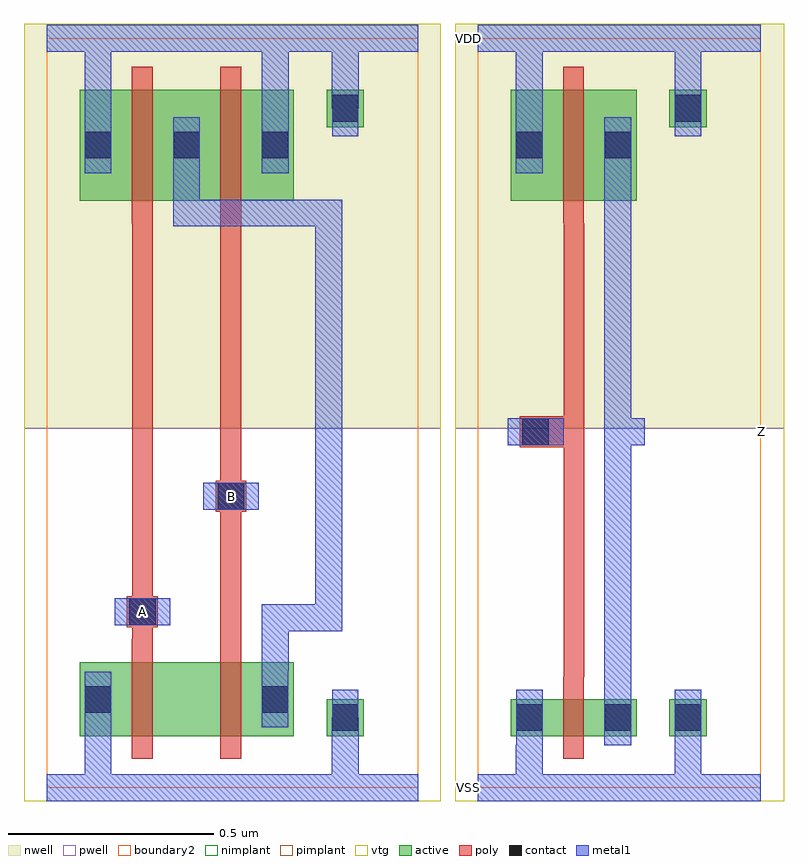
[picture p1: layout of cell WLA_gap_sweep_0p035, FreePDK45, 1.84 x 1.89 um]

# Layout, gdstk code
import gdstk
lib = gdstk.Library(unit=1e-6, precision=1e-09)
def R(c, l, rs):  # rectangles x0, y0, x1, y1
    for r in rs: c.add(gdstk.rectangle(r[:2], r[2:], *l))
active = (1, 0)
pwell = (2, 0)
nwell = (3, 0)
nimplant = (4, 0)
pimplant = (5, 0)
vtg = (6, 0)
poly = (9, 0)
contact = (10, 0)
metal1 = (11, 0)
boundary2 = (239, 0)

teamb_clone__pnand2_stag = lib.new_cell('TEAMB_CLONE__pnand2_stage__PNAND2_NW180_PW270_L50_FPDK45__PNAND2_NW180_PW270_L50_FPDK45_contact_8')
R(teamb_clone__pnand2_stag, active, [(0,0.022,0.09,0.112)])
R(teamb_clone__pnand2_stag, nwell, [(-0.055,-0.033,0.145,0.168)])
R(teamb_clone__pnand2_stag, pimplant, [(0,0.022,0.09,0.112)])
R(teamb_clone__pnand2_stag, contact, [(0.013,0.035,0.077,0.1)])
R(teamb_clone__pnand2_stag, metal1, [(0.013,0,0.077,0.135)])
R(teamb_clone__pnand2_stag, boundary2, [(-0.055,-0.033,0.145,0.168)])

c_teamb_clone__pnand2_stag = lib.new_cell('TEAMB_CLONE__pnand2_stage__PNAND2_NW180_PW270_L50_FPDK45__PNAND2_NW180_PW270_L50_FPDK45_pmos_m1_w0_270_sm1_dm1')
R(c_teamb_clone__pnand2_stag, active, [(0,0,0.305,0.27)])
R(c_teamb_clone__pnand2_stag, nwell, [(-0.08,-0.08,0.385,0.35)])
R(c_teamb_clone__pnand2_stag, pimplant, [(0,0,0.305,0.27)])
R(c_teamb_clone__pnand2_stag, vtg, [(-0.08,-0.08,0.385,0.35)])
R(c_teamb_clone__pnand2_stag, poly, [(0.127,-0.055,0.177,0.325), (0.127,-0.055,0.177,0.325)])
R(c_teamb_clone__pnand2_stag, metal1, [(0.013,0.068,0.077,0.203), (0.227,0.068,0.292,0.203)])
R(c_teamb_clone__pnand2_stag, boundary2, [(-0.08,-0.08,0.385,0.35)])
c_teamb_clone__pnand2_stag.add(gdstk.Reference(teamb_clone__pnand2_stag, (0,0.068)))
c_teamb_clone__pnand2_stag.add(gdstk.Reference(teamb_clone__pnand2_stag, (0.215,0.068)))

c_teamb_clone__pnand2_stag_ = lib.new_cell('TEAMB_CLONE__pnand2_stage__PNAND2_NW180_PW270_L50_FPDK45__PNAND2_NW180_PW270_L50_FPDK45_contact_7')
R(c_teamb_clone__pnand2_stag_, active, [(0,0.022,0.09,0.112)])
R(c_teamb_clone__pnand2_stag_, pwell, [(-0.055,-0.033,0.145,0.168)])
R(c_teamb_clone__pnand2_stag_, nimplant, [(0,0.022,0.09,0.112)])
R(c_teamb_clone__pnand2_stag_, contact, [(0.013,0.035,0.077,0.1)])
R(c_teamb_clone__pnand2_stag_, metal1, [(0.013,0,0.077,0.135)])
R(c_teamb_clone__pnand2_stag_, boundary2, [(-0.055,-0.033,0.145,0.168)])

c_teamb_clone__pnand2_stag__ = lib.new_cell('TEAMB_CLONE__pnand2_stage__PNAND2_NW180_PW270_L50_FPDK45__PNAND2_NW180_PW270_L50_FPDK45_nmos_m1_w0_180_sm1_dactive')
R(c_teamb_clone__pnand2_stag__, active, [(0,0,0.305,0.18), (0.215,0.045,0.305,0.135)])
R(c_teamb_clone__pnand2_stag__, pwell, [(-0.08,-0.08,0.385,0.26)])
R(c_teamb_clone__pnand2_stag__, nimplant, [(0,0,0.305,0.18)])
R(c_teamb_clone__pnand2_stag__, vtg, [(-0.08,-0.08,0.385,0.26)])
R(c_teamb_clone__pnand2_stag__, poly, [(0.127,-0.055,0.177,0.235), (0.127,-0.055,0.177,0.235)])
R(c_teamb_clone__pnand2_stag__, metal1, [(0.013,0.022,0.077,0.157)])
R(c_teamb_clone__pnand2_stag__, boundary2, [(-0.08,-0.08,0.385,0.26)])
c_teamb_clone__pnand2_stag__.add(gdstk.Reference(c_teamb_clone__pnand2_stag_, (0,0.022)))

c_teamb_clone__pnand2_stag___ = lib.new_cell('TEAMB_CLONE__pnand2_stage__PNAND2_NW180_PW270_L50_FPDK45__PNAND2_NW180_PW270_L50_FPDK45_nmos_m1_w0_180_sactive_dm1')
R(c_teamb_clone__pnand2_stag___, active, [(0,0,0.305,0.18), (0,0.045,0.09,0.135)])
R(c_teamb_clone__pnand2_stag___, pwell, [(-0.08,-0.08,0.385,0.26)])
R(c_teamb_clone__pnand2_stag___, nimplant, [(0,0,0.305,0.18)])
R(c_teamb_clone__pnand2_stag___, vtg, [(-0.08,-0.08,0.385,0.26)])
R(c_teamb_clone__pnand2_stag___, poly, [(0.127,-0.055,0.177,0.235), (0.127,-0.055,0.177,0.235)])
R(c_teamb_clone__pnand2_stag___, metal1, [(0.227,0.022,0.292,0.157)])
R(c_teamb_clone__pnand2_stag___, boundary2, [(-0.08,-0.08,0.385,0.26)])
c_teamb_clone__pnand2_stag___.add(gdstk.Reference(c_teamb_clone__pnand2_stag_, (0.215,0.022)))

c_teamb_clone__pnand2_stag____ = lib.new_cell('TEAMB_CLONE__pnand2_stage__PNAND2_NW180_PW270_L50_FPDK45__PNAND2_NW180_PW270_L50_FPDK45_contact_9')
R(c_teamb_clone__pnand2_stag____, active, [(0,0.022,0.09,0.112)])
R(c_teamb_clone__pnand2_stag____, nwell, [(-0.055,-0.033,0.145,0.168)])
R(c_teamb_clone__pnand2_stag____, nimplant, [(0,0.022,0.09,0.112)])
R(c_teamb_clone__pnand2_stag____, contact, [(0.013,0.035,0.077,0.1)])
R(c_teamb_clone__pnand2_stag____, metal1, [(0.013,0,0.077,0.135)])
R(c_teamb_clone__pnand2_stag____, boundary2, [(-0.055,-0.033,0.145,0.168)])

c_teamb_clone__pnand2_stag_____ = lib.new_cell('TEAMB_CLONE__pnand2_stage__PNAND2_NW180_PW270_L50_FPDK45__PNAND2_NW180_PW270_L50_FPDK45_contact_10')
R(c_teamb_clone__pnand2_stag_____, active, [(0,0.022,0.09,0.112)])
R(c_teamb_clone__pnand2_stag_____, pwell, [(-0.055,-0.033,0.145,0.168)])
R(c_teamb_clone__pnand2_stag_____, pimplant, [(0,0.022,0.09,0.112)])
R(c_teamb_clone__pnand2_stag_____, contact, [(0.013,0.035,0.077,0.1)])
R(c_teamb_clone__pnand2_stag_____, metal1, [(0.013,0,0.077,0.135)])
R(c_teamb_clone__pnand2_stag_____, boundary2, [(-0.055,-0.033,0.145,0.168)])

c_teamb_clone__pnand2_stag______ = lib.new_cell('TEAMB_CLONE__pnand2_stage__PNAND2_NW180_PW270_L50_FPDK45__PNAND2_NW180_PW270_L50_FPDK45_contact_11')
R(c_teamb_clone__pnand2_stag______, poly, [(0.03,0,0.105,0.075)])
R(c_teamb_clone__pnand2_stag______, contact, [(0.035,0.005,0.1,0.07)])
R(c_teamb_clone__pnand2_stag______, metal1, [(0,0.005,0.135,0.07)])
R(c_teamb_clone__pnand2_stag______, boundary2, [(0,0,0.135,0.075)])

c_teamb_clone__pnand2_stag_______ = lib.new_cell('TEAMB_CLONE__pnand2_stage__PNAND2_NW180_PW270_L50_FPDK45__PNAND2_NW180_PW270_L50_FPDK45_pnand2')
R(c_teamb_clone__pnand2_stag_______, pwell, [(-0.055,-0.033,0.957,0.873)])
R(c_teamb_clone__pnand2_stag_______, nwell, [(-0.055,0.873,0.957,1.855)])
R(c_teamb_clone__pnand2_stag_______, vtg, [(-0.055,-0.033,0.957,0.873), (-0.055,0.873,0.957,1.855)])
R(c_teamb_clone__pnand2_stag_______, poly, [(0.208,0.36,0.258,1.37), (0.422,0.36,0.473,1.37), (0.208,0.39,0.232,0.465), (0.422,0.67,0.447,0.745)])
R(c_teamb_clone__pnand2_stag_______, metal1, [(0,-0.033,0.902,0.033), (0.092,-0.033,0.157,0.147), (0.692,0,0.758,0.17), (0.522,0.283,0.588,0.413), (0.522,0.38,0.588,0.445), (0.555,0.38,0.685,0.445), (0.652,0.38,0.718,0.445), (0.165,0.395,0.3,0.46), (0.652,0.413,0.718,1.395), (0.38,0.675,0.515,0.74), (0.307,1.363,0.372,1.427), (0.34,1.363,0.685,1.427), (0.652,1.363,0.718,1.427), (0.307,1.395,0.372,1.492), (0.092,1.492,0.157,1.852), (0.522,1.492,0.588,1.852), (0.692,1.65,0.758,1.82), (0,1.787,0.902,1.852)])
R(c_teamb_clone__pnand2_stag_______, boundary2, [(0,0,0.902,1.82), (0,0,0.902,1.82)])
c_teamb_clone__pnand2_stag_______.add(gdstk.Reference(c_teamb_clone__pnand2_stag, (0.08,1.425)))
c_teamb_clone__pnand2_stag_______.add(gdstk.Reference(c_teamb_clone__pnand2_stag, (0.295,1.425)))
c_teamb_clone__pnand2_stag_______.add(gdstk.Reference(c_teamb_clone__pnand2_stag__, (0.08,0.125)))
c_teamb_clone__pnand2_stag_______.add(gdstk.Reference(c_teamb_clone__pnand2_stag___, (0.295,0.125)))
c_teamb_clone__pnand2_stag_______.add(gdstk.Reference(c_teamb_clone__pnand2_stag____, (0.68,1.582)))
c_teamb_clone__pnand2_stag_______.add(gdstk.Reference(c_teamb_clone__pnand2_stag_____, (0.68,0.103)))
c_teamb_clone__pnand2_stag_______.add(gdstk.Reference(c_teamb_clone__pnand2_stag______, (0.165,0.39)))
c_teamb_clone__pnand2_stag_______.add(gdstk.Reference(c_teamb_clone__pnand2_stag______, (0.38,0.67)))

c_teamb_clone__pnand2_stag________ = lib.new_cell('TEAMB_CLONE__pnand2_stage__PNAND2_NW180_PW270_L50_FPDK45__PNAND2_NW180_PW270_L50_FPDK45')
R(c_teamb_clone__pnand2_stag________, metal1, [(0,-0.033,0.902,0.033), (0.165,0.395,0.3,0.46), (0.38,0.675,0.515,0.74), (0.652,1.363,0.718,1.427), (0,1.787,0.902,1.852)])
R(c_teamb_clone__pnand2_stag________, boundary2, [(0,0,0.902,1.82)])
c_teamb_clone__pnand2_stag________.add(gdstk.Reference(c_teamb_clone__pnand2_stag_______, (0,0)))

teamb_clone__inv_stage__ = lib.new_cell('TEAMB_CLONE__inv_stage__PINV_NW90_PW270_L50__TRANSMISSION_GATE_NW250_PW500_L50_contact_8')
R(teamb_clone__inv_stage__, active, [(0,0.022,0.09,0.112)])
R(teamb_clone__inv_stage__, nwell, [(-0.055,-0.033,0.145,0.168)])
R(teamb_clone__inv_stage__, pimplant, [(0,0.022,0.09,0.112)])
R(teamb_clone__inv_stage__, contact, [(0.013,0.035,0.077,0.1)])
R(teamb_clone__inv_stage__, metal1, [(0.013,0,0.077,0.135)])
R(teamb_clone__inv_stage__, boundary2, [(-0.055,-0.033,0.145,0.168)])

c_teamb_clone__inv_stage__ = lib.new_cell('TEAMB_CLONE__inv_stage__PINV_NW90_PW270_L50__PINV_NW180_PW270_L50_pmos_m1_w0_270_sm1_dm1_da_p')
R(c_teamb_clone__inv_stage__, active, [(0,0,0.305,0.27)])
R(c_teamb_clone__inv_stage__, nwell, [(-0.08,-0.08,0.385,0.35)])
R(c_teamb_clone__inv_stage__, pimplant, [(0,0,0.305,0.27)])
R(c_teamb_clone__inv_stage__, vtg, [(-0.08,-0.08,0.385,0.35)])
R(c_teamb_clone__inv_stage__, poly, [(0.127,-0.055,0.177,0.325), (0.127,-0.055,0.177,0.325)])
R(c_teamb_clone__inv_stage__, metal1, [(0.013,0.068,0.077,0.203), (0.227,0.068,0.292,0.203)])
R(c_teamb_clone__inv_stage__, boundary2, [(-0.08,-0.08,0.385,0.35)])
c_teamb_clone__inv_stage__.add(gdstk.Reference(teamb_clone__inv_stage__, (0,0.068)))
c_teamb_clone__inv_stage__.add(gdstk.Reference(teamb_clone__inv_stage__, (0.215,0.068)))

c_teamb_clone__inv_stage___ = lib.new_cell('TEAMB_CLONE__inv_stage__PINV_NW90_PW270_L50__TRANSMISSION_GATE_NW250_PW500_L50_contact_7')
R(c_teamb_clone__inv_stage___, active, [(0,0.022,0.09,0.112)])
R(c_teamb_clone__inv_stage___, pwell, [(-0.055,-0.033,0.145,0.168)])
R(c_teamb_clone__inv_stage___, nimplant, [(0,0.022,0.09,0.112)])
R(c_teamb_clone__inv_stage___, contact, [(0.013,0.035,0.077,0.1)])
R(c_teamb_clone__inv_stage___, metal1, [(0.013,0,0.077,0.135)])
R(c_teamb_clone__inv_stage___, boundary2, [(-0.055,-0.033,0.145,0.168)])

c_teamb_clone__inv_stage____ = lib.new_cell('TEAMB_CLONE__inv_stage__PINV_NW90_PW270_L50__PINV_NW90_PW270_L50_nmos_m1_w0_090_sm1_dm1_da_p')
R(c_teamb_clone__inv_stage____, active, [(0,0,0.305,0.09)])
R(c_teamb_clone__inv_stage____, pwell, [(-0.08,-0.08,0.385,0.17)])
R(c_teamb_clone__inv_stage____, nimplant, [(0,0,0.305,0.09)])
R(c_teamb_clone__inv_stage____, vtg, [(-0.08,-0.08,0.385,0.17)])
R(c_teamb_clone__inv_stage____, poly, [(0.127,-0.055,0.177,0.145), (0.127,-0.055,0.177,0.145)])
R(c_teamb_clone__inv_stage____, metal1, [(0.013,-0.022,0.077,0.112), (0.227,-0.022,0.292,0.112)])
R(c_teamb_clone__inv_stage____, boundary2, [(-0.08,-0.08,0.385,0.17)])
c_teamb_clone__inv_stage____.add(gdstk.Reference(c_teamb_clone__inv_stage___, (0,-0.022)))
c_teamb_clone__inv_stage____.add(gdstk.Reference(c_teamb_clone__inv_stage___, (0.215,-0.022)))

c_teamb_clone__inv_stage_____ = lib.new_cell('TEAMB_CLONE__inv_stage__PINV_NW90_PW270_L50__TRANSMISSION_GATE_NW250_PW500_L50_contact_9')
R(c_teamb_clone__inv_stage_____, active, [(0,0.022,0.09,0.112)])
R(c_teamb_clone__inv_stage_____, nwell, [(-0.055,-0.033,0.145,0.168)])
R(c_teamb_clone__inv_stage_____, nimplant, [(0,0.022,0.09,0.112)])
R(c_teamb_clone__inv_stage_____, contact, [(0.013,0.035,0.077,0.1)])
R(c_teamb_clone__inv_stage_____, metal1, [(0.013,0,0.077,0.135)])
R(c_teamb_clone__inv_stage_____, boundary2, [(-0.055,-0.033,0.145,0.168)])

c_teamb_clone__inv_stage______ = lib.new_cell('TEAMB_CLONE__inv_stage__PINV_NW90_PW270_L50__TRANSMISSION_GATE_NW250_PW500_L50_contact_10')
R(c_teamb_clone__inv_stage______, active, [(0,0.022,0.09,0.112)])
R(c_teamb_clone__inv_stage______, pwell, [(-0.055,-0.033,0.145,0.168)])
R(c_teamb_clone__inv_stage______, pimplant, [(0,0.022,0.09,0.112)])
R(c_teamb_clone__inv_stage______, contact, [(0.013,0.035,0.077,0.1)])
R(c_teamb_clone__inv_stage______, metal1, [(0.013,0,0.077,0.135)])
R(c_teamb_clone__inv_stage______, boundary2, [(-0.055,-0.033,0.145,0.168)])

c_teamb_clone__inv_stage_______ = lib.new_cell('TEAMB_CLONE__inv_stage__PINV_NW90_PW270_L50__PINV_NW180_PW270_L50_contact_11')
R(c_teamb_clone__inv_stage_______, poly, [(0.03,0,0.105,0.075)])
R(c_teamb_clone__inv_stage_______, contact, [(0.035,0.005,0.1,0.07)])
R(c_teamb_clone__inv_stage_______, metal1, [(0,0.005,0.135,0.07)])
R(c_teamb_clone__inv_stage_______, boundary2, [(0,0,0.135,0.075)])

c_teamb_clone__inv_stage________ = lib.new_cell('TEAMB_CLONE__inv_stage__PINV_NW90_PW270_L50__PINV_NW90_PW270_L50_core')
R(c_teamb_clone__inv_stage________, pwell, [(-0.055,-0.033,0.743,0.873)])
R(c_teamb_clone__inv_stage________, nwell, [(-0.055,0.873,0.743,1.855)])
R(c_teamb_clone__inv_stage________, vtg, [(-0.055,-0.033,0.743,0.873), (-0.055,0.873,0.743,1.855)])
R(c_teamb_clone__inv_stage________, poly, [(0.208,0.27,0.258,1.37), (0.14,0.827,0.208,0.902)])
R(c_teamb_clone__inv_stage________, metal1, [(0,-0.033,0.687,0.033), (0.092,-0.033,0.157,0.103), (0.478,0,0.542,0.17), (0.307,0.103,0.372,1.627), (0.072,0.832,0.208,0.897), (0.34,0.832,0.405,0.897), (0.092,1.492,0.157,1.852), (0.478,1.65,0.542,1.82), (0,1.787,0.687,1.852)])
R(c_teamb_clone__inv_stage________, boundary2, [(0,0,0.687,1.82), (0,0,0.687,1.82)])
c_teamb_clone__inv_stage________.add(gdstk.Reference(c_teamb_clone__inv_stage__, (0.08,1.425)))
c_teamb_clone__inv_stage________.add(gdstk.Reference(c_teamb_clone__inv_stage____, (0.08,0.125)))
c_teamb_clone__inv_stage________.add(gdstk.Reference(c_teamb_clone__inv_stage_____, (0.465,1.582)))
c_teamb_clone__inv_stage________.add(gdstk.Reference(c_teamb_clone__inv_stage______, (0.465,0.103)))
c_teamb_clone__inv_stage________.add(gdstk.Reference(c_teamb_clone__inv_stage_______, (0.072,0.827)))

c_teamb_clone__inv_stage_________ = lib.new_cell('TEAMB_CLONE__inv_stage__PINV_NW90_PW270_L50__PINV_NW90_PW270_L50')
R(c_teamb_clone__inv_stage_________, metal1, [(0,-0.033,0.687,0.033), (0.072,0.832,0.208,0.897), (0.34,0.832,0.405,0.897), (0,1.787,0.687,1.852)])
R(c_teamb_clone__inv_stage_________, boundary2, [(0,0,0.687,1.82)])
c_teamb_clone__inv_stage_________.add(gdstk.Reference(c_teamb_clone__inv_stage________, (0,0)))

wla_gap_sweep_0p035 = lib.new_cell('WLA_gap_sweep_0p035')
wla_gap_sweep_0p035.add(gdstk.Reference(c_teamb_clone__pnand2_stag________, (0.055,0.033)))
wla_gap_sweep_0p035.add(gdstk.Reference(c_teamb_clone__inv_stage_________, (1.102,0.033)))
wla_gap_sweep_0p035.add(gdstk.Label('A', (0.288,0.46), layer=11, texttype=2))
wla_gap_sweep_0p035.add(gdstk.Label('B', (0.503,0.74), layer=11, texttype=2))
wla_gap_sweep_0p035.add(gdstk.Label('Z', (1.79,0.897), layer=11, texttype=2))
wla_gap_sweep_0p035.add(gdstk.Label('VDD', (1.08,1.852), layer=11, texttype=2))
wla_gap_sweep_0p035.add(gdstk.Label('VSS', (1.08,0.033), layer=11, texttype=2))

lib.write_gds('WLA_gap_sweep_0p035.gds')
